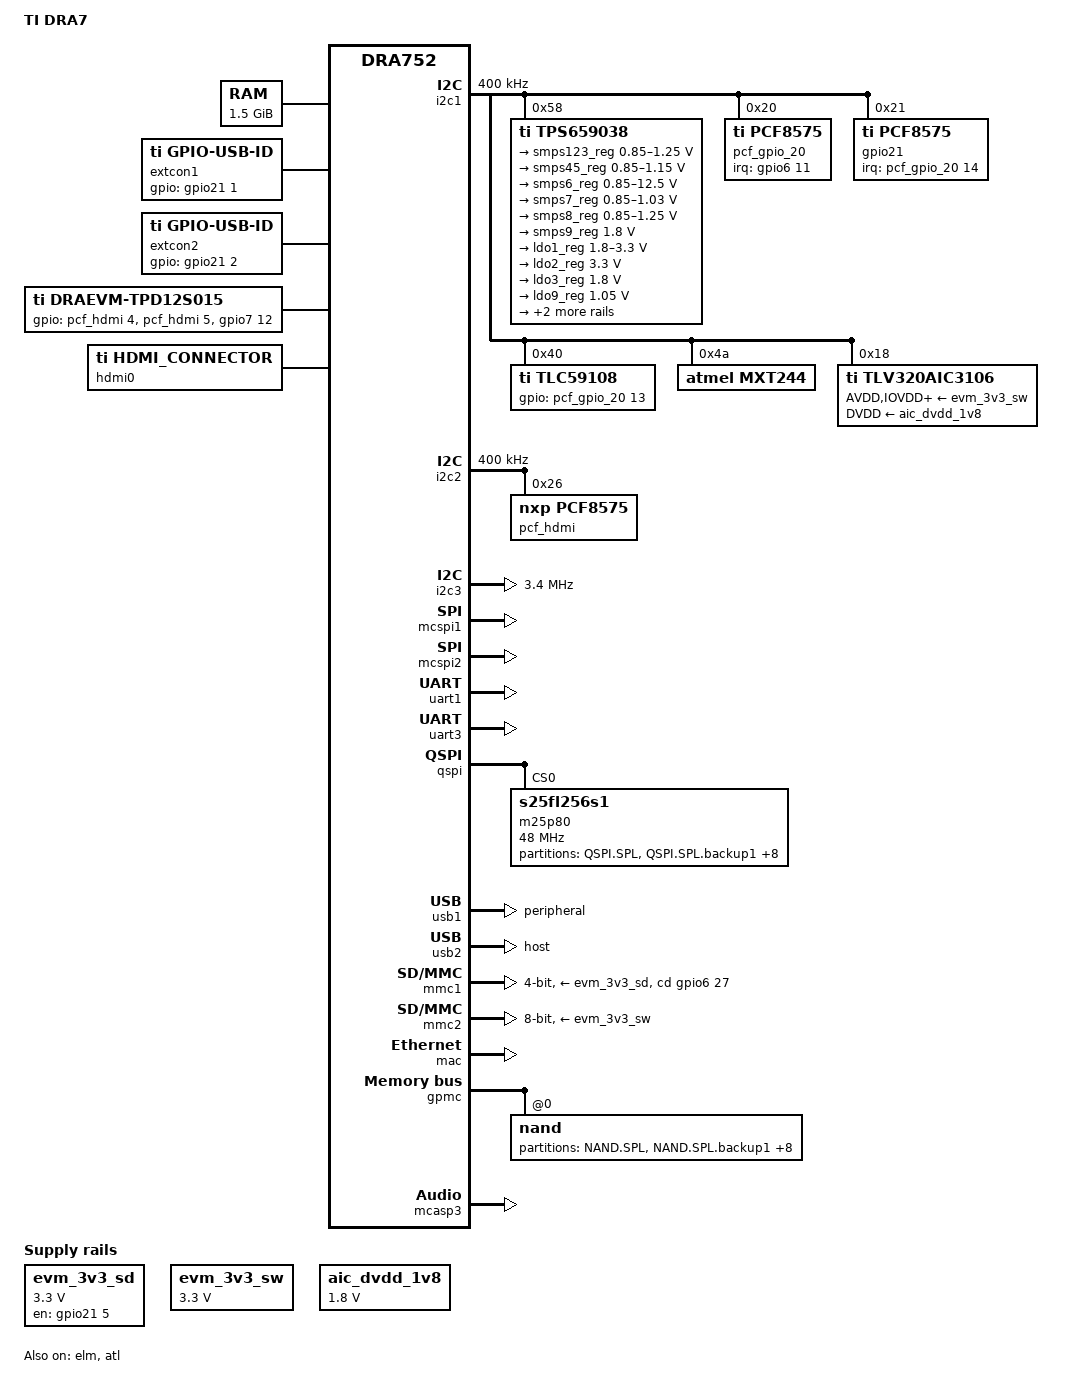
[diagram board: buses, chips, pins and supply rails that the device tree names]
/*
 * Copyright (C) 2013 Texas Instruments Incorporated - http://www.ti.com/
 *
 * This program is free software; you can redistribute it and/or modify
 * it under the terms of the GNU General Public License version 2 as
 * published by the Free Software Foundation.
 */
/dts-v1/;

#include "dra7.dtsi"
#include <dt-bindings/pinctrl/dra7xx.h>
#include <dt-bindings/clk/ti-dra7-atl.h>

/ {
	model = "TI DRA7";
	compatible = "ti,dra7-evm", "ti,dra752", "ti,dra7";

	memory {
		device_type = "memory";
		reg = <0x80000000 0x60000000>; /* 1536 MB */
	};

	extcon1: gpio_usbvid_extcon1 {
		compatible = "ti,gpio-usb-id";
		gpios = <&gpio21 1 0>;
	};

	extcon2: gpio_usbvid_extcon2 {
		compatible = "ti,gpio-usb-id";
		gpios = <&gpio21 2 0>;
	};

	evm_3v3_sd: fixedregulator-sd {
		compatible = "regulator-fixed";
		regulator-name = "evm_3v3_sd";
		regulator-min-microvolt = <3300000>;
		regulator-max-microvolt = <3300000>;
		enable-active-high;
		gpio = <&gpio21 5 0>;
	};

	evm_3v3_sw: fixedregulator-evm_3v3_sw {
		compatible = "regulator-fixed";
		regulator-name = "evm_3v3_sw";
		regulator-min-microvolt = <3300000>;
		regulator-max-microvolt = <3300000>;
	};

	aic_dvdd_1v8: fixedregulator-aic-dvdd-1v8 {
		compatible = "regulator-fixed";
		regulator-name = "aic-dvdd-1v8";
		regulator-min-microvolt = <1800000>;
		regulator-max-microvolt = <1800000>;
		regulator-boot-on;
	};

	sound {
		compatible = "ti,dra7xx-evm-audio";
		ti,model = "DRA7xx-EVM";
		ti,audio-codec = <&tlv320aic3106>;
		ti,mcasp-controller = <&mcasp3>;
		ti,codec-clock-rate = <5644800>;
		clocks = <&atl_clkin2_ck>;
		clock-names = "ti,codec-clock";
		ti,audio-routing =
			"Headphone Jack",       "HPLOUT",
			"Headphone Jack",       "HPROUT",
			"LINE1L",               "Line In",
			"LINE1R",               "Line In";
	};
};

&dra7_pmx_core {
	pinctrl-names = "default";
	pinctrl-0 = <
		&vout1_pins
		&irq_pins
		&atl_pins
		&hpd_pin
	>;

	atl_pins: pinmux_atl_pins {
		pinctrl-single,pins = <
			0x298 0x00000005	/* xref_clk1.atl_clk1 OUTPUT | MODE5 */
			0x29c 0x00000005	/* xref_clk2.atl_clk2 OUTPUT | MODE5 */
		>;
	};

	i2c1_pins: pinmux_i2c1_pins {
		pinctrl-single,pins = <
			0x400 0x60000	/* i2c1_sda */
			0x404 0x60000	/* i2c1_scl */
		>;
	};

	i2c2_pins: pinmux_i2c2_pins {
		pinctrl-single,pins = <
			0x408 0x60000	/* i2c2_sda */
			0x40c 0x60000	/* i2c2_scl */
		>;
	};

	i2c3_pins: pinmux_i2c3_pins {
		pinctrl-single,pins = <
			0x410 0x60000	/* i2c3_sda */
			0x414 0x60000	/* i2c3_scl */
		>;
	};

	irq_pins: pinmux_irq_pins {
		pinctrl-single,pins = <
			0x420	0x1	/* Wakeup2 INPUT | MODE1 */
		>;
	};

	mmc1_pins: pinmux_mmc1_pins {
		pinctrl-single,pins = <
			0x36c 0x4000e	/* mmc1sdcd.gpio INPUT | MODE15 */
		>;
	};

	mmc1_muxpu: pinmux_mmc1_muxpu {
		pinctrl-single,pins = <
			0x354 0x60000	/* mmc1_clk.clk INPUT PULLUP | MODE0 */
			0x358 0x60000	/* mmc1_cmd.cmd INPUT PULLUP | MODE0 */
			0x35c 0x60000	/* mmc1_dat0.dat0 INPUT PULLUP | MODE0 */
			0x360 0x60000	/* mmc1_dat1.dat1 INPUT PULLUP | MODE0 */
			0x364 0x60000	/* mmc1_dat2.dat2 INPUT PULLUP | MODE0 */
			0x368 0x60000	/* mmc1_dat3.dat3 INPUT PULLUP | MODE0 */
		>;
	};

	mmc1_muxpd: pinmux_mmc1_muxpd {
		pinctrl-single,pins = <
			0x354 0x20000	/* mmc1_clk.clk INPUT PULLUP | MODE0 */
			0x358 0x20000	/* mmc1_cmd.cmd INPUT PULLUP | MODE0 */
			0x35c 0x20000	/* mmc1_dat0.dat0 INPUT PULLUP | MODE0 */
			0x360 0x20000	/* mmc1_dat1.dat1 INPUT PULLUP | MODE0 */
			0x364 0x20000	/* mmc1_dat2.dat2 INPUT PULLUP | MODE0 */
			0x368 0x20000	/* mmc1_dat3.dat3 INPUT PULLUP | MODE0 */
		>;
	};

	mcspi1_pins: pinmux_mcspi1_pins {
		pinctrl-single,pins = <
			0x3a4 0x40000	/* spi2_clk */
			0x3a8 0x40000	/* spi2_d1 */
			0x3ac 0x40000	/* spi2_d0 */
			0x3b0 0xc0000	/* spi2_cs0 */
			0x3b4 0xc0000	/* spi2_cs1 */
			0x3bc 0xe0006	/* spi2_cs3 */
		>;
	};

	mcspi2_pins: pinmux_mcspi2_pins {
		pinctrl-single,pins = <
			0x3c0 0x40000	/* spi2_sclk */
			0x3c4 0xc0000	/* spi2_d1 */
			0x3c8 0xc0000	/* spi2_d1 */
			0x3cc 0xe0000	/* spi2_cs0 */
		>;
	};

	uart1_pins: pinmux_uart1_pins {
		pinctrl-single,pins = <
			0x3e0 0xe0000	/* uart1_rxd */
			0x3e4 0xe0000	/* uart1_txd */
		>;
	};

	uart3_pins: pinmux_uart3_pins {
		pinctrl-single,pins = <
			0x248 0xc0000 /* uart3_rxd */
			0x24c 0xc0000 /* uart3_txd */
		>;
	};

	qspi1_pins: pinmux_qspi1_pins {
		pinctrl-single,pins = <
			0x4c 0x40001  /* gpmc_a3.qspi1_cs2 */
			0x50 0x40001  /* gpmc_a4.qspi1_cs3 */
			0x74 0x40001  /* gpmc_a13.qspi1_rtclk */
			0x78 0x40001  /* gpmc_a14.qspi1_d3 */
			0x7c 0x40001  /* gpmc_a15.qspi1_d2 */
			0x80 0x40001  /* gpmc_a16.qspi1_d1 */
			0x84 0x40001  /* gpmc_a17.qspi1_d0 */
			0x88 0x40001  /* qpmc_a18.qspi1_sclk */
			0xb8 0x60001  /* gpmc_cs2.qspi1_cs0 */
			0xbc 0x60001  /* gpmc_cs3.qspi1_cs1 */
		>;
	};

	usb1_pins: pinmux_usb1_pins {
                pinctrl-single,pins = <
			0x280	0xc0000	/* usb1_drvvbus, SLOW_SLEW | PULLUPEN | MODE0 */
                >;
        };

	usb2_pins: pinmux_usb2_pins {
                pinctrl-single,pins = <
			0x284	0xc0000 /* usb2_drvvbus, SLOW_SLEW | PULLUPEN | MODE0 */
                >;
        };

	vout1_pins: pinmux_vout1_pins {
		pinctrl-single,pins = <
			0x1C8	0x0	/* vout1_clk OUTPUT | MODE0 */
			0x1CC	0x0	/* vout1_de OUTPUT | MODE0 */
			0x1D0	0x0	/* vout1_fld OUTPUT | MODE0 */
			0x1D4	0x0	/* vout1_hsync OUTPUT | MODE0 */
			0x1D8	0x0	/* vout1_vsync OUTPUT | MODE0 */
			0x1DC	0x0	/* vout1_d0 OUTPUT | MODE0 */
			0x1E0	0x0	/* vout1_d1 OUTPUT | MODE0 */
			0x1E4	0x0	/* vout1_d2 OUTPUT | MODE0 */
			0x1E8	0x0	/* vout1_d3 OUTPUT | MODE0 */
			0x1EC	0x0	/* vout1_d4 OUTPUT | MODE0 */
			0x1F0	0x0	/* vout1_d5 OUTPUT | MODE0 */
			0x1F4	0x0	/* vout1_d6 OUTPUT | MODE0 */
			0x1F8	0x0	/* vout1_d7 OUTPUT | MODE0 */
			0x1FC	0x0	/* vout1_d8 OUTPUT | MODE0 */
			0x200	0x0	/* vout1_d9 OUTPUT | MODE0 */
			0x204	0x0	/* vout1_d10 OUTPUT | MODE0 */
			0x208	0x0	/* vout1_d11 OUTPUT | MODE0 */
			0x20C	0x0	/* vout1_d12 OUTPUT | MODE0 */
			0x210	0x0	/* vout1_d13 OUTPUT | MODE0 */
			0x214	0x0	/* vout1_d14 OUTPUT | MODE0 */
			0x218	0x0	/* vout1_d15 OUTPUT | MODE0 */
			0x21C	0x0	/* vout1_d16 OUTPUT | MODE0 */
			0x220	0x0	/* vout1_d17 OUTPUT | MODE0 */
			0x224	0x0	/* vout1_d18 OUTPUT | MODE0 */
			0x228	0x0	/* vout1_d19 OUTPUT | MODE0 */
			0x22C	0x0	/* vout1_d20 OUTPUT | MODE0 */
			0x230	0x0	/* vout1_d21 OUTPUT | MODE0 */
			0x234	0x0	/* vout1_d22 OUTPUT | MODE0 */
			0x238	0x0	/* vout1_d23 OUTPUT | MODE0 */
		>;
	};

	cpsw_default: cpsw_default {
		pinctrl-single,pins = <
			/* Slave 1 */
			0x250 (PIN_OUTPUT | MUX_MODE0)	/* rgmii1_tclk */
			0x254 (PIN_OUTPUT | MUX_MODE0)	/* rgmii1_tctl */
			0x258 (PIN_OUTPUT | MUX_MODE0)	/* rgmii1_td3 */
			0x25c (PIN_OUTPUT | MUX_MODE0)	/* rgmii1_td2 */
			0x260 (PIN_OUTPUT | MUX_MODE0)	/* rgmii1_td1 */
			0x264 (PIN_OUTPUT | MUX_MODE0)	/* rgmii1_td0 */
			0x268 (PIN_INPUT | MUX_MODE0)	/* rgmii1_rclk */
			0x26c (PIN_INPUT | MUX_MODE0)	/* rgmii1_rctl */
			0x270 (PIN_INPUT | MUX_MODE0)	/* rgmii1_rd3 */
			0x274 (PIN_INPUT | MUX_MODE0)	/* rgmii1_rd2 */
			0x278 (PIN_INPUT | MUX_MODE0)	/* rgmii1_rd1 */
			0x27c (PIN_INPUT | MUX_MODE0)	/* rgmii1_rd0 */

			/* Slave 2 */
			0x198 (PIN_OUTPUT | MUX_MODE3)	/* rgmii2_tclk */
			0x19c (PIN_OUTPUT | MUX_MODE3)	/* rgmii2_tctl */
			0x1a0 (PIN_OUTPUT | MUX_MODE3)	/* rgmii2_td3 */
			0x1a4 (PIN_OUTPUT | MUX_MODE3)	/* rgmii2_td2 */
			0x1a8 (PIN_OUTPUT | MUX_MODE3)	/* rgmii2_td1 */
			0x1ac (PIN_OUTPUT | MUX_MODE3)	/* rgmii2_td0 */
			0x1b0 (PIN_INPUT | MUX_MODE3)	/* rgmii2_rclk */
			0x1b4 (PIN_INPUT | MUX_MODE3)	/* rgmii2_rctl */
			0x1b8 (PIN_INPUT | MUX_MODE3)	/* rgmii2_rd3 */
			0x1bc (PIN_INPUT | MUX_MODE3)	/* rgmii2_rd2 */
			0x1c0 (PIN_INPUT | MUX_MODE3)	/* rgmii2_rd1 */
			0x1c4 (PIN_INPUT | MUX_MODE3)	/* rgmii2_rd0 */
		>;

	};
	cpsw_sleep: cpsw_sleep {
		pinctrl-single,pins = <
			/* Slave 1 */
			0x250 (PIN_OFF_NONE)
			0x254 (PIN_OFF_NONE)
			0x258 (PIN_OFF_NONE)
			0x25c (PIN_OFF_NONE)
			0x260 (PIN_OFF_NONE)
			0x264 (PIN_OFF_NONE)
			0x268 (PIN_OFF_NONE)
			0x26c (PIN_OFF_NONE)
			0x270 (PIN_OFF_NONE)
			0x274 (PIN_OFF_NONE)
			0x278 (PIN_OFF_NONE)
			0x27c (PIN_OFF_NONE)

			/* Slave 1 */
			0x198 (PIN_OFF_NONE)
			0x19c (PIN_OFF_NONE)
			0x1a0 (PIN_OFF_NONE)
			0x1a4 (PIN_OFF_NONE)
			0x1a8 (PIN_OFF_NONE)
			0x1ac (PIN_OFF_NONE)
			0x1b0 (PIN_OFF_NONE)
			0x1b4 (PIN_OFF_NONE)
			0x1b8 (PIN_OFF_NONE)
			0x1bc (PIN_OFF_NONE)
			0x1c0 (PIN_OFF_NONE)
			0x1c4 (PIN_OFF_NONE)
		>;
	};

	davinci_mdio_default: davinci_mdio_default {
		pinctrl-single,pins = <
			/* MDIO */
			0x23c (PIN_OUTPUT_PULLUP | MUX_MODE0)	/* mdio_data */
			0x240 (PIN_INPUT_PULLUP | MUX_MODE0)	/* mdio_clk */
		>;
	};

	davinci_mdio_sleep: davinci_mdio_sleep {
		pinctrl-single,pins = <
			0x23c (PIN_OFF_NONE)
			0x240 (PIN_OFF_NONE)
		>;
	};

	nand_flash_x16: nand_flash_x16 {
		/* On DRA7 EVM, GPMC_WPN and NAND_BOOTn comes from DIP switch
		 * So NAND flash requires following switch settings:
		 * SW5.9 (GPMC_WPN) = LOW
		 * SW5.1 (NAND_BOOTn) = HIGH */
		pinctrl-single,pins = <
			0x0 	0x70000 /* (PIN_INPUT | MUX_MODE0)	gpmc_ad0	*/
			0x4 	0x70000 /* (PIN_INPUT | MUX_MODE0)	gpmc_ad1	*/
			0x8 	0x70000 /* (PIN_INPUT | MUX_MODE0)	gpmc_ad2	*/
			0xc 	0x70000 /* (PIN_INPUT | MUX_MODE0)	gpmc_ad3	*/
			0x10 	0x70000 /* (PIN_INPUT | MUX_MODE0)	gpmc_ad4	*/
			0x14 	0x70000 /* (PIN_INPUT | MUX_MODE0)	gpmc_ad5	*/
			0x18 	0x70000 /* (PIN_INPUT | MUX_MODE0)	gpmc_ad6	*/
			0x1c 	0x70000 /* (PIN_INPUT | MUX_MODE0)	gpmc_ad7	*/
			0x20 	0x70000 /* (PIN_INPUT | MUX_MODE0)	gpmc_ad8	*/
			0x24 	0x70000 /* (PIN_INPUT | MUX_MODE0)	gpmc_ad9	*/
			0x28 	0x70000 /* (PIN_INPUT | MUX_MODE0)	gpmc_ad10	*/
			0x2c 	0x70000 /* (PIN_INPUT | MUX_MODE0)	gpmc_ad11	*/
			0x30 	0x70000 /* (PIN_INPUT | MUX_MODE0)	gpmc_ad12	*/
			0x34 	0x70000 /* (PIN_INPUT | MUX_MODE0)	gpmc_ad13	*/
			0x38 	0x70000 /* (PIN_INPUT | MUX_MODE0)	gpmc_ad14	*/
			0x3c 	0x70000 /* (PIN_INPUT | MUX_MODE0)	gpmc_ad15	*/
			0xD8 	0x70000 /* (PIN_INPUT | MUX_MODE0)	gpmc_wait0	*/
			0xCC 	0x0 	/* (PIN_OUTPUT	   | MUX_MODE0)	gpmc_wen	*/
			0xB4 	0x0	/* (PIN_OUTPUT | MUX_MODE0)	gpmc_csn0	*/
			0xC4 	0x0	/* (PIN_OUTPUT 	   | MUX_MODE0)	gpmc_advn_ale */
			0xC8 	0x0	/* (PIN_OUTPUT	   | MUX_MODE0)	gpmc_oen_ren	 */
			0xD0 	0x0	/* (PIN_OUTPUT 	   | MUX_MODE0)	gpmc_be0n_cle */
		>;
	};

	mcasp3_pins: pinmux_mcasp3_pins {
		pinctrl-single,pins = <
			0x324 0x10000	/* mcasp3_aclkx.mcasp3_aclkx	Mode0.Output.PD */
			0x328 0x10000	/* mcasp3_fsx.mcasp3_fsx	Mode0.Output.PD */
			0x32c 0x10000	/* mcasp3_axr0.mcasp3_axr0	Mode0.Output.PD */
			0x330 0x50000	/* mcasp3_axr1.mcasp3_axr1	Mode0.Input.PD */
		>;
	};

	mcasp3_sleep_pins: pinmux_mcasp3_sleep_pins {
		pinctrl-single,pins = <
			0x324 (PIN_OFF_NONE)
			0x328 (PIN_OFF_NONE)
			0x32c (PIN_OFF_NONE)
			0x330 (PIN_OFF_NONE)
		>;
	};

	hpd_pin: pinmux_hpd_pin {
		pinctrl-single,pins = <
			0x3b8	0x5000e	/* gpio7_12 INPUT | MODE14 */
		>;
	};
};

&i2c1 {
	status = "okay";
	pinctrl-names = "default";
	pinctrl-0 = <&i2c1_pins>;
	clock-frequency = <400000>;

	tps659038: tps659038@58 {
		compatible = "ti,tps659038";
		reg = <0x58>;

		tps659038_pmic {
			compatible = "ti,tps659038-pmic";

			regulators {
				smps123_reg: smps123 {
					/* VDD_MPU */
						regulator-name = "smps123";
						regulator-min-microvolt = < 850000>;
						regulator-max-microvolt = <1250000>;
						regulator-always-on;
						regulator-boot-on;
					};

				smps45_reg: smps45 {
						/* VDD_DSPEVE */
						regulator-name = "smps45";
						regulator-min-microvolt = < 850000>;
						regulator-max-microvolt = <1150000>;
						regulator-boot-on;
					};

				smps6_reg: smps6 {
						/* VDD_GPU - over VDD_SMPS6 */
						regulator-name = "smps6";
						regulator-min-microvolt = <850000>;
						regulator-max-microvolt = <12500000>;
						regulator-boot-on;
					};

				smps7_reg: smps7 {
						/* CORE_VDD */
						regulator-name = "smps7";
						regulator-min-microvolt = <850000>;
						regulator-max-microvolt = <1030000>;
						regulator-always-on;
						regulator-boot-on;
					};

				smps8_reg: smps8 {
						/* VDD_IVAHD */
						regulator-name = "smps8";
						regulator-min-microvolt = < 850000>;
						regulator-max-microvolt = <1250000>;
						regulator-boot-on;
					};

				smps9_reg: smps9 {
						/* VDDS1V8 */
						regulator-name = "smps9";
						regulator-min-microvolt = <1800000>;
						regulator-max-microvolt = <1800000>;
						regulator-always-on;
						regulator-boot-on;
					};

				ldo1_reg: ldo1 {
						/* LDO1_OUT --> SDIO  */
						regulator-name = "ldo1";
						regulator-min-microvolt = <1800000>;
						regulator-max-microvolt = <3300000>;
						regulator-always-on;
						regulator-boot-on;
					};

				ldo2_reg: ldo2 {
						/* VDD_RTCIO */
						/* LDO2 -> VDDSHV5, LDO2 also goes to CAN_PHY_3V3 */
						regulator-name = "ldo2";
						regulator-min-microvolt = <3300000>;
						regulator-max-microvolt = <3300000>;
						regulator-boot-on;
					};

				ldo3_reg: ldo3 {
						/* VDDA_1V8_PHY */
						regulator-name = "ldo3";
						regulator-min-microvolt = <1800000>;
						regulator-max-microvolt = <1800000>;
						regulator-boot-on;
					};

				ldo9_reg: ldo9 {
						/* VDD_RTC */
						regulator-name = "ldo9";
						regulator-min-microvolt = <1050000>;
						regulator-max-microvolt = <1050000>;
						regulator-boot-on;
					};

				ldoln_reg: ldoln {
						/* VDDA_1V8_PLL */
						regulator-name = "ldoln";
						regulator-min-microvolt = <1800000>;
						regulator-max-microvolt = <1800000>;
						regulator-always-on;
						regulator-boot-on;
					};

				ldousb_reg: ldousb {
						/* VDDA_3V_USB: VDDA_USBHS33 */
						regulator-name = "ldousb";
						regulator-min-microvolt = <3300000>;
						regulator-max-microvolt = <3300000>;
						regulator-boot-on;
					};

				};
			};
		};

	pcf_gpio_20: gpio@20 {
		compatible = "ti,pcf8575";
		reg = <0x20>;
		lines-initial-states = <0x4000>;
		gpio-controller;
		#gpio-cells = <2>;
		interrupt-parent = <&gpio6>;
		interrupts = <11 2>;
		interrupt-controller;
		#interrupt-cells = <2>;
	};

	gpio21: gpio@21 {
		compatible = "ti,pcf8575";
		reg = <0x21>;
		lines-initial-states = <0x1408>;
		gpio-controller;
		#gpio-cells = <2>;
		interrupt-parent = <&pcf_gpio_20>;
		interrupts = <14 2>;
		interrupt-controller;
		#interrupt-cells = <2>;
	};

	/* TLC chip for LCD panel power and backlight */
	tlc59108: tlc59108@40 {
		compatible = "ti,tlc59108";
		reg = <0x40>;
		gpios = <&pcf_gpio_20 13 0>; /* P15, CON_LCD_PWR_DN */
		video-source = <&dpi1>;
		data-lines = <24>;
	};

	mxt244: touchscreen@4a {
		compatible = "atmel,mXT244";
		status = "okay";
		reg = <0x4a>;
		interrupts = <0 119 0x4>;

		atmel,config = <
			/* MXT244_GEN_COMMAND(6) */
			0x00 0x00 0x00 0x00 0x00 0x00
			/* MXT244_GEN_POWER(7) */
			0x20 0xff 0x32
			/* MXT244_GEN_ACQUIRE(8) */
			0x0a 0x00 0x05 0x00 0x00 0x00 0x09 0x23
			/* MXT244_TOUCH_MULTI(9) */
			0x00 0x00 0x00 0x13 0x0b 0x00 0x00 0x00 0x02 0x00
			0x00 0x01 0x01 0x0e 0x0a 0x0a 0x0a 0x0a 0x00 0x00
			0x00 0x00 0x00 0x00 0x00 0x00 0x00 0x00 0x00 0x00
			0x00
			/* MXT244_TOUCH_KEYARRAY(15) */
			0x00 0x00 0x00 0x00 0x00 0x00 0x00 0x00 0x00 0x00
			0x00
			/* MXT244_COMMSCONFIG_T18(2) */
			0x00 0x00
			/* MXT244_SPT_GPIOPWM(19) */
			0x00 0x00 0x00 0x00 0x00 0x00 0x00 0x00 0x00 0x00
			0x00 0x00 0x00 0x00 0x00 0x00
			/* MXT244_PROCI_GRIPFACE(20) */
			0x07 0x00 0x00 0x00 0x00 0x00 0x00 0x50 0x28 0x04
			0x0f 0x0a
			/* MXT244_PROCG_NOISE(22) */
			0x05 0x00 0x00 0x00 0x00 0x00 0x00 0x03 0x23 0x00
			0x00 0x05 0x0f 0x19 0x23 0x2d 0x03
			/* MXT244_TOUCH_PROXIMITY(23) */
			0x00 0x00 0x00 0x00 0x00 0x00 0x00 0x00 0x00 0x00
			0x00 0x00 0x00 0x00 0x00
			/* MXT244_PROCI_ONETOUCH(24) */
			0x00 0x00 0x00 0x00 0x00 0x00 0x00 0x00 0x00 0x00
			0x00 0x00 0x00 0x00 0x00 0x00 0x00 0x00 0x00
			/* MXT244_SPT_SELFTEST(25) */
			0x00 0x00 0x00 0x00 0x00 0x00 0x00 0x00 0x00 0x00
			0x00 0x00 0x00 0x00
			/* MXT244_PROCI_TWOTOUCH(27) */
			0x00 0x00 0x00 0x00 0x00 0x00 0x00
			/* MXT244_SPT_CTECONFIG(28) */
			0x00 0x00 0x02 0x08 0x10 0x00
		>;

		atmel,x_line = <18>;
		atmel,y_line = <12>;
		atmel,x_size = <800>;
		atmel,y_size = <480>;
		atmel,blen = <0x01>;
		atmel,threshold = <30>;
		atmel,voltage = <2800000>;
		atmel,orient = <0x4>;
	};

	tlv320aic3106: tlv320aic3106@18 {
		compatible = "ti,tlv320aic3106";
		reg = <0x18>;
		adc-settle-ms = <40>;
		status = "okay";

		/* Regulators */
		AVDD-supply = <&evm_3v3_sw>;
		IOVDD-supply = <&evm_3v3_sw>;
		DRVDD-supply = <&evm_3v3_sw>;
		DVDD-supply = <&aic_dvdd_1v8>;
	};
};

&i2c2 {
	status = "okay";
	pinctrl-names = "default";
	pinctrl-0 = <&i2c2_pins>;
	clock-frequency = <400000>;

	pcf_hdmi: gpio@26 {
		compatible = "nxp,pcf8575";
		reg = <0x26>;
		lines-initial-states = <0xffeb>;
		gpio-controller;
		#gpio-cells = <2>;
	};
};

&i2c3 {
	status = "okay";
	pinctrl-names = "default";
	pinctrl-0 = <&i2c3_pins>;
	clock-frequency = <3400000>;
};

&mcspi1 {
        status = "okay";
	pinctrl-names = "default";
	pinctrl-0 = <&mcspi1_pins>;
};

&mcspi2 {
        status = "okay";
	pinctrl-names = "default";
	pinctrl-0 = <&mcspi2_pins>;
};

&uart1 {
	status = "okay";
        pinctrl-names = "default";
        pinctrl-0 = <&uart1_pins>;
};

&uart3 {
        status = "okay";
        pinctrl-names = "default";
        pinctrl-0 = <&uart3_pins>;
};

&qspi {
	status = "okay";
	pinctrl-names = "default";
	pinctrl-0 = <&qspi1_pins>;

	spi-max-frequency = <48000000>;
	m25p80@0 {
		compatible = "s25fl256s1";
		spi-max-frequency = <48000000>;
		reg = <0>;
		spi-tx-bus-width = <1>;
		spi-rx-bus-width = <4>;
		spi-cpol;
		spi-cpha;
		#address-cells = <1>;
		#size-cells = <1>;

		/* MTD partition table.
		 * The ROM checks the first four physical blocks
		 * for a valid file to boot and the flash here is
		 * 64KiB block size.
		 */
		partition@0 {
			label = "QSPI.SPL";
			reg = <0x00000000 0x000010000>;
		};
		partition@1 {
			label = "QSPI.SPL.backup1";
			reg = <0x00010000 0x00010000>;
		};
		partition@2 {
			label = "QSPI.SPL.backup2";
			reg = <0x00020000 0x00010000>;
		};
		partition@3 {
			label = "QSPI.SPL.backup3";
			reg = <0x00030000 0x00010000>;
		};
		partition@4 {
			label = "QSPI.u-boot";
			reg = <0x00040000 0x00100000>;
		};
		partition@5 {
			label = "QSPI.u-boot-spl-os";
			reg = <0x00140000 0x00010000>;
		};
		partition@6 {
			label = "QSPI.u-boot-env";
			reg = <0x00150000 0x00010000>;
		};
		partition@7 {
			label = "QSPI.u-boot-env.backup1";
			reg = <0x00160000 0x0010000>;
		};
		partition@8 {
			label = "QSPI.kernel";
			reg = <0x00170000 0x0800000>;
		};
		partition@9 {
			label = "QSPI.file-system";
			reg = <0x00970000 0x01690000>;
		};
	};
};

&usb1 {
	dr_mode = "peripheral";
	pinctrl-names = "default";
	pinctrl-0 = <&usb1_pins>;
};

&usb2 {
	dr_mode = "host";
	pinctrl-names = "default";
	pinctrl-0 = <&usb2_pins>;
};

&dwc3_1 {
	extcon = <&extcon1>;
};

&dwc3_2 {
	extcon = <&extcon2>;
};

&mmc1 {
	status = "okay";
	vmmc-supply = <&evm_3v3_sd>;
	vmmc_aux-supply = <&ldo1_reg>;
	pbias-supply = <&pbias_regulator>;
	bus-width = <4>;
	pinctrl-names = "default", "muxpu", "muxpd";
	pinctrl-0 = <&mmc1_pins>;
	pinctrl-1 = <&mmc1_muxpu>;
	pinctrl-2 = <&mmc1_muxpd>;
	cd-gpios = <&gpio6 27 0>; /* gpio 187 */
};

&mmc2 {
	status = "okay";
	vmmc-supply = <&evm_3v3_sw>;
	bus-width = <8>;
	ti,non-removable;
	cap-mmc-dual-data-rate;
};

&dss {
	vdda_video-supply = <&ldoln_reg>;
};

&hdmi {
	vdda_hdmi_dac-supply = <&ldo3_reg>;
};

&avs_mpu {
	avs-supply = <&smps123_reg>;
	/* Account for Palmas accuracy not < 10mV */
	voltage-tolerance = <1>;
};

&avs_core {
	avs-supply = <&smps7_reg>;
	/* Account for Palmas accuracy not < 10mV */
	voltage-tolerance = <1>;
};

&avs_gpu {
	avs-supply = <&smps6_reg>;
	/* Account for Palmas accuracy not < 10mV */
	voltage-tolerance = <1>;
};

&avs_dspeve {
	avs-supply = <&smps45_reg>;
	/* Account for Palmas accuracy not < 10mV */
	voltage-tolerance = <1>;
};

&avs_iva {
	avs-supply = <&smps8_reg>;
	/* Account for Palmas accuracy not < 10mV */
	voltage-tolerance = <1>;
};

&cpu0 {
	cpu0-supply = <&avs_mpu>;
};

/ {
	aliases {
		display0 = &tlc59108;
		display1 = &hdmi0;
	};

	tpd12s015: encoder@0 {
		compatible = "ti,draevm-tpd12s015";

		video-source = <&hdmi>;

		gpios = <&pcf_hdmi 4 0>,	/* P4, CT CP HPD */
			<&pcf_hdmi 5 0>,	/* P5, LS OE */
			<&gpio7 12 0>;		/* gpio7_12/sp1_cs2, HPD */
	};

	hdmi0: connector@0 {
		compatible = "ti,hdmi_connector";

		video-source = <&tpd12s015>;
	};
};

&mac {
	status = "okay";
	pinctrl-names = "default", "sleep";
	pinctrl-0 = <&cpsw_default>;
	pinctrl-1 = <&cpsw_sleep>;
	dual_emac;
};

&cpsw_emac0 {
	phy_id = <&davinci_mdio>, <2>;
};

&cpsw_emac1 {
	phy_id = <&davinci_mdio>, <3>;
};

&davinci_mdio {
	pinctrl-names = "default", "sleep";
	pinctrl-0 = <&davinci_mdio_default>;
	pinctrl-1 = <&davinci_mdio_sleep>;
};

&elm {
	status = "okay";
};

&gpmc {
	status = "okay";
	pinctrl-names = "default";
	pinctrl-0 = <&nand_flash_x16>;
	ranges = <0 0 0x08000000 0x10000000>;
	nand@0,0 {
		reg = <0 0 0>;
		nand-bus-width = <16>;
		gpmc,device-width = <2>;
		gpmc,sync-clk-ps = <0>;
		gpmc,cs-on-ns = <0>;
		gpmc,cs-rd-off-ns = <40>;
		gpmc,cs-wr-off-ns = <40>;
		gpmc,adv-on-ns = <0>;
		gpmc,adv-rd-off-ns = <30>;
		gpmc,adv-wr-off-ns = <30>;
		gpmc,we-on-ns = <5>;
		gpmc,we-off-ns = <25>;
		gpmc,oe-on-ns = <2>;
		gpmc,oe-off-ns = <20>;
		gpmc,access-ns = <20>;
		gpmc,wr-access-ns = <40>;
		gpmc,rd-cycle-ns = <40>;
		gpmc,wr-cycle-ns = <40>;
		gpmc,wait-on-read = "true";
		gpmc,wait-on-write = "true";
		gpmc,bus-turnaround-ns = <0>;
		gpmc,cycle2cycle-delay-ns = <0>;
		gpmc,clk-activation-ns = <0>;
		gpmc,wait-monitoring-ns = <0>;
		gpmc,wr-data-mux-bus-ns = <0>;
		ti,nand-ecc-opt = "bch8";
		ti,elm-id = <&elm>;
		/* MTD partition table */
		/* All SPL-* partitions are sized to minimal length
		 * which can be independently programmable. For
		 * NAND flash this is equal to size of erase-block */
		#address-cells = <1>;
		#size-cells = <1>;
		partition@0 {
			label = "NAND.SPL";
			reg = <0x00000000 0x000020000>;
		};
		partition@1 {
			label = "NAND.SPL.backup1";
			reg = <0x00020000 0x00020000>;
		};
		partition@2 {
			label = "NAND.SPL.backup2";
			reg = <0x00040000 0x00020000>;
		};
		partition@3 {
			label = "NAND.SPL.backup3";
			reg = <0x00060000 0x00020000>;
		};
		partition@4 {
			label = "NAND.u-boot-spl-os";
			reg = <0x00080000 0x00040000>;
		};
		partition@5 {
			label = "NAND.u-boot";
			reg = <0x000C0000 0x00100000>;
		};
		partition@6 {
			label = "NAND.u-boot-env";
			reg = <0x001C0000 0x00020000>;
		};
		partition@7 {
			label = "NAND.u-boot-env.backup1";
			reg = <0x001E0000 0x00020000>;
		};
		partition@8 {
			label = "NAND.kernel";
			reg = <0x00200000 0x00800000>;
		};
		partition@9 {
			label = "NAND.file-system";
			reg = <0x00A00000 0x0F600000>;
		};
	};
};

&atl {
	status = "okay";

	atl2 {
		bws = <DRA7_ATL_WS_MCASP2_FSX>;
		aws = <DRA7_ATL_WS_MCASP3_FSX>;
	};
};

&mcasp3 {
	pinctrl-names = "default", "sleep";
	pinctrl-0 = <&mcasp3_pins>;
	pinctrl-1 = <&mcasp3_sleep_pins>;

	fck_parent = "atl_clkin2_ck";

	status = "okay";

	op-mode = <0>;          /* MCASP_IIS_MODE */
	tdm-slots = <2>;
	/* 16 serializer */
	serial-dir = <  /* 0: INACTIVE, 1: TX, 2: RX */
		1 2 0 0
		0 0 0 0
		0 0 0 0
		0 0 0 0
	>;
};
